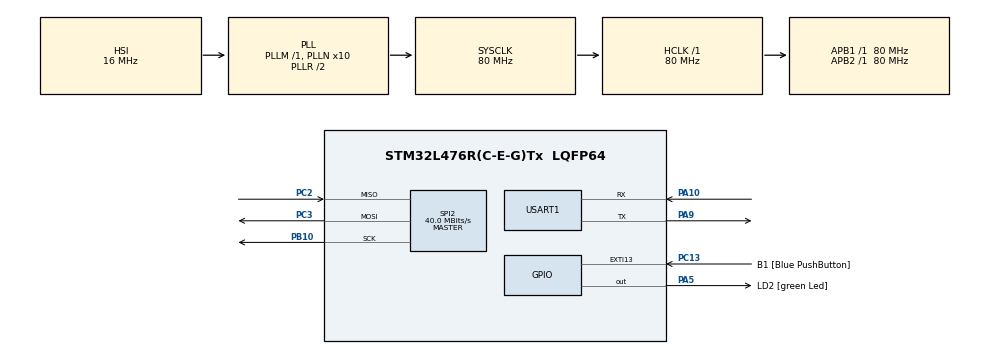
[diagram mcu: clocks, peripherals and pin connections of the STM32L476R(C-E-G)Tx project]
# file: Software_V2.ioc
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Mcu.Family=STM32L4
Mcu.Name=STM32L476R(C-E-G)Tx
Mcu.Package=LQFP64
NVIC.PriorityGroup=NVIC_PRIORITYGROUP_4
NVIC.SPI2_IRQn=true\:0\:0\:false\:false\:true\:true\:true\:true
NVIC.USART1_IRQn=true\:0\:0\:false\:false\:true\:true\:true\:true
PA10.Mode=Asynchronous
PA10.Signal=USART1_RX
PA13\ (JTMS-SWDIO).GPIO_Label=TMS
PA13\ (JTMS-SWDIO).Mode=Serial_Wire
PA13\ (JTMS-SWDIO).Signal=SYS_JTMS-SWDIO
PA14\ (JTCK-SWCLK).GPIO_Label=TCK
PA14\ (JTCK-SWCLK).Mode=Serial_Wire
PA14\ (JTCK-SWCLK).Signal=SYS_JTCK-SWCLK
PA2.GPIO_Label=USART_TX
PA2.GPIO_Mode=GPIO_MODE_AF_PP
PA2.GPIO_PuPd=GPIO_NOPULL
PA2.GPIO_Speed=GPIO_SPEED_FREQ_VERY_HIGH
PA2.Signal=USART2_TX
PA3.GPIO_Label=USART_RX
PA3.GPIO_Mode=GPIO_MODE_AF_PP
PA3.GPIO_PuPd=GPIO_NOPULL
PA3.GPIO_Speed=GPIO_SPEED_FREQ_VERY_HIGH
PA3.Signal=USART2_RX
PA5.GPIO_Label=LD2 [green Led]
PA5.GPIO_ModeDefaultOutputPP=GPIO_MODE_OUTPUT_PP
PA5.GPIO_PuPd=GPIO_NOPULL
PA5.GPIO_Speed=GPIO_SPEED_FREQ_LOW
PA5.Signal=GPIO_Output
PA9.Mode=Asynchronous
PA9.Signal=USART1_TX
PB10.Mode=Full_Duplex_Master
PB10.Signal=SPI2_SCK
PB3\ (JTDO-TRACESWO).GPIO_Label=SWO
PB3\ (JTDO-TRACESWO).Signal=SYS_JTDO-SWO
PC13.GPIO_Label=B1 [Blue PushButton]
PC13.GPIO_ModeDefaultEXTI=GPIO_MODE_IT_FALLING
PC13.GPIO_PuPd=GPIO_NOPULL
PC13.Signal=GPXTI13
PC14-OSC32_IN\ (PC14).Mode=LSE-External-Oscillator
PC14-OSC32_IN\ (PC14).Signal=RCC_OSC32_IN
PC15-OSC32_OUT\ (PC15).Mode=LSE-External-Oscillator
PC15-OSC32_OUT\ (PC15).Signal=RCC_OSC32_OUT
PC2.Mode=Full_Duplex_Master
PC2.Signal=SPI2_MISO
PC3.Mode=Full_Duplex_Master
PC3.Signal=SPI2_MOSI
PH0-OSC_IN\ (PH0).Signal=RCC_OSC_IN
PH1-OSC_OUT\ (PH1).Signal=RCC_OSC_OUT
ProjectManager.HeapSize=0x200
ProjectManager.StackSize=0x400
ProjectManager.TargetToolchain=STM32CubeIDE
RCC.ADCFreq_Value=64000000
RCC.AHBFreq_Value=80000000
RCC.APB1Freq_Value=80000000
RCC.APB1TimFreq_Value=80000000
RCC.APB2Freq_Value=80000000
RCC.APB2TimFreq_Value=80000000
RCC.CortexFreq_Value=80000000
RCC.HCLKFreq_Value=80000000
RCC.HSE_VALUE=8000000
RCC.HSI_VALUE=16000000
RCC.MSI_VALUE=4000000
RCC.PLLN=10
RCC.PLLSourceVirtual=RCC_PLLSOURCE_HSI
RCC.PREFETCH_ENABLE=1
RCC.SYSCLKFreq_VALUE=80000000
RCC.SYSCLKSource=RCC_SYSCLKSOURCE_PLLCLK
RCC.USBFreq_Value=64000000
RCC.VCOOutputFreq_Value=160000000
SPI2.CalculateBaudRate=40.0 MBits/s
SPI2.Direction=SPI_DIRECTION_2LINES
SPI2.Mode=SPI_MODE_MASTER
SPI2.VirtualType=VM_MASTER
USART1.VirtualMode-Asynchronous=VM_ASYNC
board=NUCLEO-L476RG

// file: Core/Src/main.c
/* USER CODE BEGIN Header */
/**
  ******************************************************************************
  * @file           : main.c
  * @brief          : Main program body
  ******************************************************************************
  * @attention
  *
  * Copyright (c) 2025 STMicroelectronics.
  * All rights reserved.
  *
  * This software is licensed under terms that can be found in the LICENSE file
  * in the root directory of this software component.
  * If no LICENSE file comes with this software, it is provided AS-IS.
  *
  ******************************************************************************
  */
/* USER CODE END Header */
#include "main.h"
#include "nrf24l01.h"

/* USER CODE BEGIN PD */
#define MODE_TX 1
//#define MODE_RX 0
/* USER CODE END PD */

SPI_HandleTypeDef hspi2;

UART_HandleTypeDef huart1;

void SystemClock_Config(void);
static void MX_GPIO_Init(void);
static void MX_SPI2_Init(void);
static void MX_USART1_UART_Init(void);

int main(void)
{

  /* MCU Configuration--------------------------------------------------------*/

  /* Reset of all peripherals, Initializes the Flash interface and the Systick. */
  HAL_Init();

  /* Configure the system clock */
  SystemClock_Config();

  /* Initialize all configured peripherals */
  MX_GPIO_Init();
  MX_SPI2_Init();
  MX_USART1_UART_Init();
  /* USER CODE BEGIN 2 */
  uint8_t txData[] = "Hello";
  uint8_t rxData[5];

  #if MODE_TX
  	  NRF24L01_Init(0x0A);  // Mode émetteur
  #else
  	  NRF24L01_Init(0x0B);  // Mode récepteur
  #endif
  /* USER CODE END 2 */

  /* Infinite loop */
  /* USER CODE BEGIN WHILE */
  while (1)
  {
		#if MODE_TX
            NRF24L01_SendData(txData, 5);
            HAL_UART_Transmit(&huart1, (uint8_t*)"Sent: Hello\n", 12, 100);
            HAL_Delay(1000);
        #else
            if (NRF24L01_ReceiveData(rxData)) {
                HAL_UART_Transmit(&huart1, rxData, 5, 100);
                HAL_UART_Transmit(&huart1, (uint8_t*)"\n", 1, 100);
            }
        #endif
    /* USER CODE END WHILE */

  }
}

void SystemClock_Config(void)
{
  RCC_OscInitTypeDef RCC_OscInitStruct = {0};
  RCC_ClkInitTypeDef RCC_ClkInitStruct = {0};

  /** Configure the main internal regulator output voltage
  */
  if (HAL_PWREx_ControlVoltageScaling(PWR_REGULATOR_VOLTAGE_SCALE1) != HAL_OK)
  {
    Error_Handler();
  }

  /** Initializes the RCC Oscillators according to the specified parameters
  * in the RCC_OscInitTypeDef structure.
  */
  RCC_OscInitStruct.OscillatorType = RCC_OSCILLATORTYPE_HSI;
  RCC_OscInitStruct.HSIState = RCC_HSI_ON;
  RCC_OscInitStruct.HSICalibrationValue = RCC_HSICALIBRATION_DEFAULT;
  RCC_OscInitStruct.PLL.PLLState = RCC_PLL_ON;
  RCC_OscInitStruct.PLL.PLLSource = RCC_PLLSOURCE_HSI;
  RCC_OscInitStruct.PLL.PLLM = 1;
  RCC_OscInitStruct.PLL.PLLN = 10;
  RCC_OscInitStruct.PLL.PLLP = RCC_PLLP_DIV7;
  RCC_OscInitStruct.PLL.PLLQ = RCC_PLLQ_DIV2;
  RCC_OscInitStruct.PLL.PLLR = RCC_PLLR_DIV2;
  if (HAL_RCC_OscConfig(&RCC_OscInitStruct) != HAL_OK)
  {
    Error_Handler();
  }

  /** Initializes the CPU, AHB and APB buses clocks
  */
  RCC_ClkInitStruct.ClockType = RCC_CLOCKTYPE_HCLK|RCC_CLOCKTYPE_SYSCLK
                              |RCC_CLOCKTYPE_PCLK1|RCC_CLOCKTYPE_PCLK2;
  RCC_ClkInitStruct.SYSCLKSource = RCC_SYSCLKSOURCE_PLLCLK;
  RCC_ClkInitStruct.AHBCLKDivider = RCC_SYSCLK_DIV1;
  RCC_ClkInitStruct.APB1CLKDivider = RCC_HCLK_DIV1;
  RCC_ClkInitStruct.APB2CLKDivider = RCC_HCLK_DIV1;

  if (HAL_RCC_ClockConfig(&RCC_ClkInitStruct, FLASH_LATENCY_4) != HAL_OK)
  {
    Error_Handler();
  }
}

static void MX_SPI2_Init(void)
{

  /* SPI2 parameter configuration*/
  hspi2.Instance = SPI2;
  hspi2.Init.Mode = SPI_MODE_MASTER;
  hspi2.Init.Direction = SPI_DIRECTION_2LINES;
  hspi2.Init.DataSize = SPI_DATASIZE_4BIT;
  hspi2.Init.CLKPolarity = SPI_POLARITY_LOW;
  hspi2.Init.CLKPhase = SPI_PHASE_1EDGE;
  hspi2.Init.NSS = SPI_NSS_SOFT;
  hspi2.Init.BaudRatePrescaler = SPI_BAUDRATEPRESCALER_2;
  hspi2.Init.FirstBit = SPI_FIRSTBIT_MSB;
  hspi2.Init.TIMode = SPI_TIMODE_DISABLE;
  hspi2.Init.CRCCalculation = SPI_CRCCALCULATION_DISABLE;
  hspi2.Init.CRCPolynomial = 7;
  hspi2.Init.CRCLength = SPI_CRC_LENGTH_DATASIZE;
  hspi2.Init.NSSPMode = SPI_NSS_PULSE_ENABLE;
  if (HAL_SPI_Init(&hspi2) != HAL_OK)
  {
    Error_Handler();
  }

}

static void MX_USART1_UART_Init(void)
{

  huart1.Instance = USART1;
  huart1.Init.BaudRate = 115200;
  huart1.Init.WordLength = UART_WORDLENGTH_8B;
  huart1.Init.StopBits = UART_STOPBITS_1;
  huart1.Init.Parity = UART_PARITY_NONE;
  huart1.Init.Mode = UART_MODE_TX_RX;
  huart1.Init.HwFlowCtl = UART_HWCONTROL_NONE;
  huart1.Init.OverSampling = UART_OVERSAMPLING_16;
  huart1.Init.OneBitSampling = UART_ONE_BIT_SAMPLE_DISABLE;
  huart1.AdvancedInit.AdvFeatureInit = UART_ADVFEATURE_NO_INIT;
  if (HAL_UART_Init(&huart1) != HAL_OK)
  {
    Error_Handler();
  }

}

static void MX_GPIO_Init(void)
{
  GPIO_InitTypeDef GPIO_InitStruct = {0};

  /* GPIO Ports Clock Enable */
  __HAL_RCC_GPIOC_CLK_ENABLE();
  __HAL_RCC_GPIOH_CLK_ENABLE();
  __HAL_RCC_GPIOA_CLK_ENABLE();
  __HAL_RCC_GPIOB_CLK_ENABLE();

  /*Configure GPIO pin Output Level */
  HAL_GPIO_WritePin(LD2_GPIO_Port, LD2_Pin, GPIO_PIN_RESET);

  /*Configure GPIO pin : B1_Pin */
  GPIO_InitStruct.Pin = B1_Pin;
  GPIO_InitStruct.Mode = GPIO_MODE_IT_FALLING;
  GPIO_InitStruct.Pull = GPIO_NOPULL;
  HAL_GPIO_Init(B1_GPIO_Port, &GPIO_InitStruct);

  /*Configure GPIO pins : USART_TX_Pin USART_RX_Pin */
  GPIO_InitStruct.Pin = USART_TX_Pin|USART_RX_Pin;
  GPIO_InitStruct.Mode = GPIO_MODE_AF_PP;
  GPIO_InitStruct.Pull = GPIO_NOPULL;
  GPIO_InitStruct.Speed = GPIO_SPEED_FREQ_VERY_HIGH;
  GPIO_InitStruct.Alternate = GPIO_AF7_USART2;
  HAL_GPIO_Init(GPIOA, &GPIO_InitStruct);

  /*Configure GPIO pin : LD2_Pin */
  GPIO_InitStruct.Pin = LD2_Pin;
  GPIO_InitStruct.Mode = GPIO_MODE_OUTPUT_PP;
  GPIO_InitStruct.Pull = GPIO_NOPULL;
  GPIO_InitStruct.Speed = GPIO_SPEED_FREQ_LOW;
  HAL_GPIO_Init(LD2_GPIO_Port, &GPIO_InitStruct);

}

void Error_Handler(void)
{
  __disable_irq();
  while (1)
  {
  }
}
